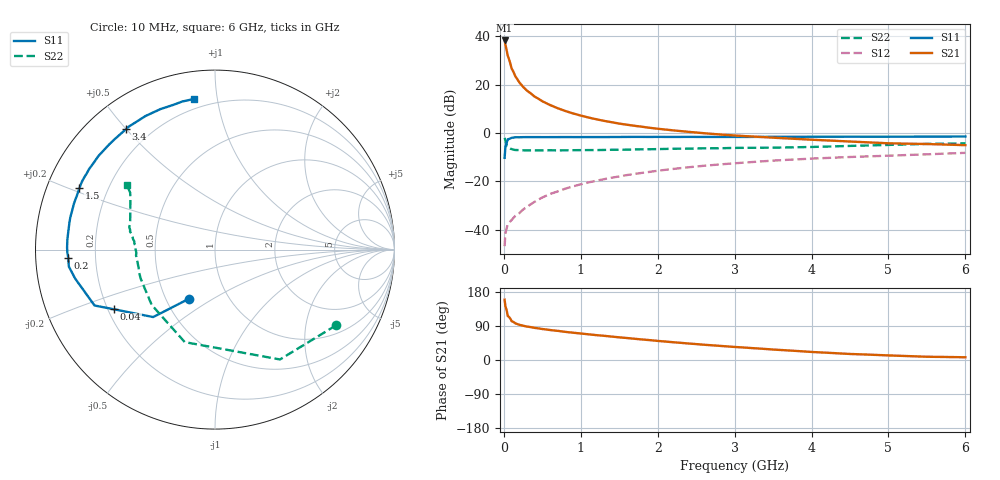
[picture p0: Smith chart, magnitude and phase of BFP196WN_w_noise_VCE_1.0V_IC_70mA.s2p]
! Infineon Technologies  Discrete & RF Semiconductors
! BFP196WN
! VCE =  1.0 V,  IC =  70 mA
! Common Emitter S-Parameters:  Jan 2017
# GHz  S  MA  R  50
!  f  S11  S21  S12  S22
! GHz  MAG  ANG  MAG  ANG  MAG  ANG  MAG  ANG
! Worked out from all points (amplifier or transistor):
!   77 points, 10 MHz to 6 GHz, reference 50 ohm
!   highest |S21| = 38.3 dB at 10 MHz (marker M1)
!   |S21| within 3 dB of that: start of sweep to 29.72 MHz
!   unconditionally stable (mu >= 1): 390 MHz to 3.348 GHz; 4.385 GHz to 5.29 GHz
!   at 130 MHz: K = 0.70, MSG = 29.9 dB, |S12| = -34.9 dB
!   at 2.2 GHz: K = 1.04, MAG = 6.8 dB, |S12| = -14.8 dB
!   at 6 GHz: K = 0.98, MSG = 1.6 dB, |S12| = -8.2 dB
!   lowest NFmin = 1.47 dB at 450 MHz
!   S11 on the Smith chart (normalised r, x): 10 MHz: 0.66, -0.40; 40 MHz: 0.22, -0.26; 200 MHz: 0.10, -0.03; 1.5 GHz: 0.10, +0.21; 3.4 GHz: 0.11, +0.50; 6 GHz: 0.14, +0.86
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0.01  0.3076 -117.6  81.84 159.2  0.0046 71.6  0.7958 -32.0
0.02  0.5097 -132.5  68.01 141.8  0.0083 58.8  0.7111 -59.4
0.04  0.6534 -149.4  48.15 128.1  0.0113 48.7  0.5477 -89.1
0.05  0.7399 -155.1  40.01 116.4  0.0129 45.4  0.5423 -108.1
0.1  0.7956 -168.3  21.76 102.7  0.0159 48.2  0.4685 -138.8
0.15  0.8198 -173.4  14.88 96.7  0.0194 50.4  0.4463 -152.3
0.2  0.8187 -176.8  11.22 93.1  0.022 58.0  0.4445 -159.2
0.25  0.823 -178.9  9.013 90.4  0.0263 60.6  0.4406 -163.4
0.3  0.8242 179.2  7.529 88.3  0.0297 62.1  0.4373 -166.9
0.4  0.8245 176.2  5.67 84.7  0.038 66.0  0.4376 -170.8
0.5  0.8235 173.7  4.543 81.8  0.0466 67.8  0.439 -173.7
0.6  0.8236 171.5  3.795 79.1  0.0551 68.8  0.4412 -175.9
0.7  0.8248 169.6  3.256 76.9  0.0622 70.2  0.4389 -177.5
0.9  0.8252 165.6  2.539 72.0  0.0793 69.6  0.4424 180.0
1.1  0.8265 162.1  2.093 67.8  0.0956 68.9  0.4447 177.7
1.5  0.8293 155.6  1.569 59.8  0.1268 66.4  0.4518 174.3
2.1  0.8316 146.0  1.181 48.7  0.1737 61.5  0.4698 170.6
3.1  0.8312 130.7  0.871 33.2  0.2436 52.0  0.4943 164.6
3.4  0.8344 126.4  0.819 29.1  0.263 49.1  0.4976 162.1
4.1  0.8383 116.3  0.716 20.2  0.3011 42.6  0.5207 155.0
5.1  0.8398 105.5  0.61 11.4  0.3451 34.5  0.5741 145.8
6  0.8476 97.8  0.562 7.2  0.3901 28.5  0.6113 143.7
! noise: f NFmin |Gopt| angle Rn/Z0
0.45  1.47  0.57  -176  0.05
0.9  1.6  0.58  -169  0.06
1.9  2.54  0.7  -147  0.19
2.4  3.34  0.71  -139  0.32
